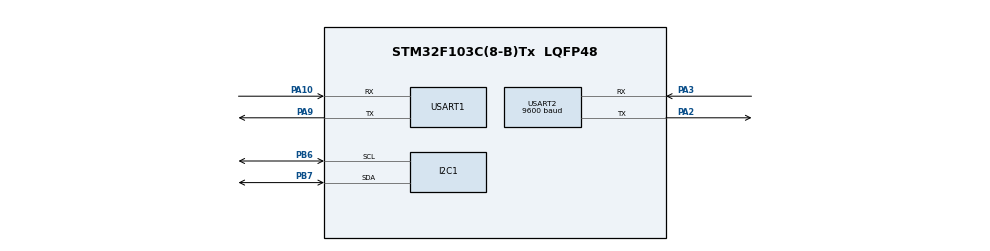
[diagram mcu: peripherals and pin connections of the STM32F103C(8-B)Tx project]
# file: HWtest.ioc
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Dma.Request0=USART2_RX
Dma.USART2_RX.0.Direction=DMA_PERIPH_TO_MEMORY
Dma.USART2_RX.0.Instance=DMA1_Channel6
Dma.USART2_RX.0.MemDataAlignment=DMA_MDATAALIGN_BYTE
Dma.USART2_RX.0.MemInc=DMA_MINC_ENABLE
Dma.USART2_RX.0.Mode=DMA_NORMAL
Dma.USART2_RX.0.PeriphDataAlignment=DMA_PDATAALIGN_BYTE
Dma.USART2_RX.0.PeriphInc=DMA_PINC_DISABLE
Dma.USART2_RX.0.Priority=DMA_PRIORITY_MEDIUM
Mcu.Family=STM32F1
Mcu.Name=STM32F103C(8-B)Tx
Mcu.Package=LQFP48
NVIC.DMA1_Channel6_IRQn=true\:0\:0\:false\:false\:true\:false\:true\:true
NVIC.PriorityGroup=NVIC_PRIORITYGROUP_4
NVIC.USART2_IRQn=true\:0\:0\:false\:false\:true\:true\:true\:true
PA10.Mode=Asynchronous
PA10.Signal=USART1_RX
PA2.Mode=Asynchronous
PA2.Signal=USART2_TX
PA3.Mode=Asynchronous
PA3.Signal=USART2_RX
PA9.Mode=Asynchronous
PA9.Signal=USART1_TX
PB6.Mode=I2C
PB6.Signal=I2C1_SCL
PB7.Mode=I2C
PB7.Signal=I2C1_SDA
ProjectManager.HeapSize=0x200
ProjectManager.StackSize=0x400
ProjectManager.TargetToolchain=STM32CubeIDE
RCC.APB1Freq_Value=8000000
RCC.APB2Freq_Value=8000000
USART1.VirtualMode=VM_ASYNC
USART2.BaudRate=9600
USART2.VirtualMode=VM_ASYNC
VP_SYS_VS_ND.Mode=No_Debug
board=custom

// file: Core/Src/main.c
/* USER CODE BEGIN Header */
/**
  ******************************************************************************
  * @file           : main.c
  * @brief          : Main program body
  ******************************************************************************
  * @attention
  *
  * Copyright (c) 2026 STMicroelectronics.
  * All rights reserved.
  *
  * This software is licensed under terms that can be found in the LICENSE file
  * in the root directory of this software component.
  * If no LICENSE file comes with this software, it is provided AS-IS.
  *
  ******************************************************************************
  */
/* USER CODE END Header */
#include "main.h"

/* USER CODE BEGIN Includes */
#include <string.h>
/* USER CODE END Includes */

/* USER CODE BEGIN PTD */
RTC_Time ds3231_time;
/* USER CODE END PTD */

/* USER CODE BEGIN PM */
uint8_t bcdToDec(uint8_t val) {
    return ((val / 16 * 10) + (val % 16));
}
void DS3231_ReadTime(void) {
    uint8_t get_time[7];
    // 從位址 0x00 開始讀取 7 個位元組
    HAL_I2C_Mem_Read(&hi2c1, 0xD0, 0x00, I2C_MEMADD_SIZE_8BIT, get_time, 7, 100);

    ds3231_time.seconds = bcdToDec(get_time[0]);
    ds3231_time.minutes = bcdToDec(get_time[1]);
    ds3231_time.hours   = bcdToDec(get_time[2] & 0x3F); // 處理 24 小時制
    ds3231_time.day     = bcdToDec(get_time[3]);
    ds3231_time.date    = bcdToDec(get_time[4]);
    ds3231_time.month   = bcdToDec(get_time[5] & 0x7F);
    ds3231_time.year    = bcdToDec(get_time[6]);
}
/* USER CODE END PM */

I2C_HandleTypeDef hi2c1;

UART_HandleTypeDef huart1;
UART_HandleTypeDef huart2;
DMA_HandleTypeDef hdma_usart2_rx;

/* USER CODE BEGIN PV */
uint8_t gps_rx_buf[RX_BUF_SIZE];

/* USER CODE END PV */

void SystemClock_Config(void);
static void MX_GPIO_Init(void);
static void MX_DMA_Init(void);
static void MX_USART1_UART_Init(void);
static void MX_USART2_UART_Init(void);
static void MX_I2C1_Init(void);

int main(void)
{

  /* MCU Configuration--------------------------------------------------------*/

  /* Reset of all peripherals, Initializes the Flash interface and the Systick. */
  HAL_Init();

  /* Configure the system clock */
  SystemClock_Config();

  /* Initialize all configured peripherals */
  MX_GPIO_Init();
  MX_DMA_Init();
  MX_USART1_UART_Init();
  MX_USART2_UART_Init();
  MX_I2C1_Init();
  /* USER CODE BEGIN 2 */
  HAL_UART_Receive_DMA(&huart2, gps_rx_buf, RX_BUF_SIZE);
  // 開啟 USART2 的空閒中斷
  __HAL_UART_ENABLE_IT(&huart2, UART_IT_IDLE);
  /* USER CODE END 2 */

  /* Infinite loop */
  /* USER CODE BEGIN WHILE */
  while (1)
  {
	  /*char msg[] = "Hello USART1\r\n";
	      // 使用 HAL 庫發送字串
	      HAL_UART_Transmit(&huart1, (uint8_t*)msg, strlen(msg), HAL_MAX_DELAY);

	      // 延時 1000 毫秒
	      HAL_Delay(1000);*/
	  DS3231_ReadTime(); // 讀取時間

	      char time_str[50];
	      sprintf(time_str, "Date: 20%02d/%02d/%02d Time: %02d:%02d:%02d\r\n",
	              ds3231_time.year, ds3231_time.month, ds3231_time.date,
	              ds3231_time.hours, ds3231_time.minutes, ds3231_time.seconds);

	      // 透過 USART1 傳出
	      HAL_UART_Transmit(&huart1, (uint8_t*)time_str, strlen(time_str), 100);

	      HAL_Delay(1000); // 每秒更新一次
    /* USER CODE END WHILE */

  }
}

void SystemClock_Config(void)
{
  RCC_OscInitTypeDef RCC_OscInitStruct = {0};
  RCC_ClkInitTypeDef RCC_ClkInitStruct = {0};

  /** Initializes the RCC Oscillators according to the specified parameters
  * in the RCC_OscInitTypeDef structure.
  */
  RCC_OscInitStruct.OscillatorType = RCC_OSCILLATORTYPE_HSI;
  RCC_OscInitStruct.HSIState = RCC_HSI_ON;
  RCC_OscInitStruct.HSICalibrationValue = RCC_HSICALIBRATION_DEFAULT;
  RCC_OscInitStruct.PLL.PLLState = RCC_PLL_NONE;
  if (HAL_RCC_OscConfig(&RCC_OscInitStruct) != HAL_OK)
  {
    Error_Handler();
  }

  /** Initializes the CPU, AHB and APB buses clocks
  */
  RCC_ClkInitStruct.ClockType = RCC_CLOCKTYPE_HCLK|RCC_CLOCKTYPE_SYSCLK
                              |RCC_CLOCKTYPE_PCLK1|RCC_CLOCKTYPE_PCLK2;
  RCC_ClkInitStruct.SYSCLKSource = RCC_SYSCLKSOURCE_HSI;
  RCC_ClkInitStruct.AHBCLKDivider = RCC_SYSCLK_DIV1;
  RCC_ClkInitStruct.APB1CLKDivider = RCC_HCLK_DIV1;
  RCC_ClkInitStruct.APB2CLKDivider = RCC_HCLK_DIV1;

  if (HAL_RCC_ClockConfig(&RCC_ClkInitStruct, FLASH_LATENCY_0) != HAL_OK)
  {
    Error_Handler();
  }
}

static void MX_I2C1_Init(void)
{

  hi2c1.Instance = I2C1;
  hi2c1.Init.ClockSpeed = 100000;
  hi2c1.Init.DutyCycle = I2C_DUTYCYCLE_2;
  hi2c1.Init.OwnAddress1 = 0;
  hi2c1.Init.AddressingMode = I2C_ADDRESSINGMODE_7BIT;
  hi2c1.Init.DualAddressMode = I2C_DUALADDRESS_DISABLE;
  hi2c1.Init.OwnAddress2 = 0;
  hi2c1.Init.GeneralCallMode = I2C_GENERALCALL_DISABLE;
  hi2c1.Init.NoStretchMode = I2C_NOSTRETCH_DISABLE;
  if (HAL_I2C_Init(&hi2c1) != HAL_OK)
  {
    Error_Handler();
  }

}

static void MX_USART1_UART_Init(void)
{

  huart1.Instance = USART1;
  huart1.Init.BaudRate = 115200;
  huart1.Init.WordLength = UART_WORDLENGTH_8B;
  huart1.Init.StopBits = UART_STOPBITS_1;
  huart1.Init.Parity = UART_PARITY_NONE;
  huart1.Init.Mode = UART_MODE_TX_RX;
  huart1.Init.HwFlowCtl = UART_HWCONTROL_NONE;
  huart1.Init.OverSampling = UART_OVERSAMPLING_16;
  if (HAL_UART_Init(&huart1) != HAL_OK)
  {
    Error_Handler();
  }

}

static void MX_USART2_UART_Init(void)
{

  huart2.Instance = USART2;
  huart2.Init.BaudRate = 9600;
  huart2.Init.WordLength = UART_WORDLENGTH_8B;
  huart2.Init.StopBits = UART_STOPBITS_1;
  huart2.Init.Parity = UART_PARITY_NONE;
  huart2.Init.Mode = UART_MODE_TX_RX;
  huart2.Init.HwFlowCtl = UART_HWCONTROL_NONE;
  huart2.Init.OverSampling = UART_OVERSAMPLING_16;
  if (HAL_UART_Init(&huart2) != HAL_OK)
  {
    Error_Handler();
  }

}

static void MX_DMA_Init(void)
{

  /* DMA controller clock enable */
  __HAL_RCC_DMA1_CLK_ENABLE();

  /* DMA interrupt init */
  /* DMA1_Channel6_IRQn interrupt configuration */
  HAL_NVIC_SetPriority(DMA1_Channel6_IRQn, 0, 0);
  HAL_NVIC_EnableIRQ(DMA1_Channel6_IRQn);

}

static void MX_GPIO_Init(void)
{

  /* GPIO Ports Clock Enable */
  __HAL_RCC_GPIOA_CLK_ENABLE();
  __HAL_RCC_GPIOB_CLK_ENABLE();

}

void Error_Handler(void)
{
  __disable_irq();
  while (1)
  {
  }
}
